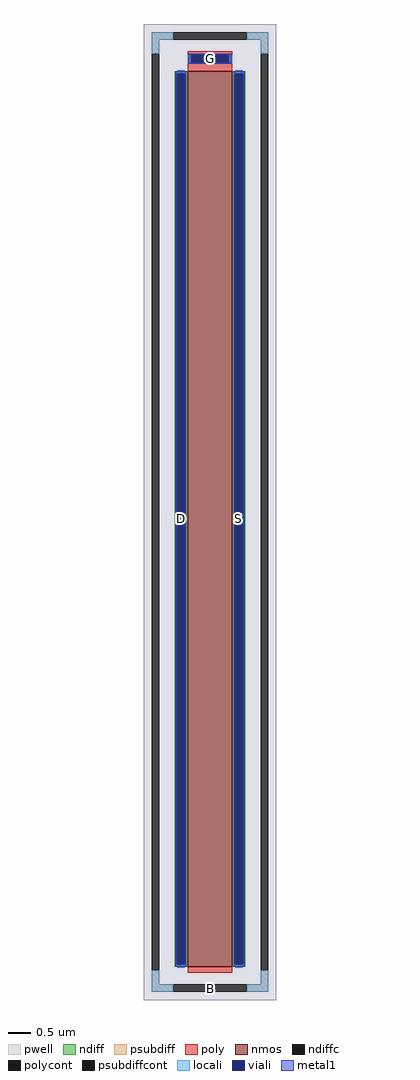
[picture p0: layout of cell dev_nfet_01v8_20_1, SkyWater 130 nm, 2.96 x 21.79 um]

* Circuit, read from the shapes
.subckt dev_nfet_01v8_20_1 B D S G
XM1 S G D B sky130_fd_pr__nfet_01v8 w=20 l=1
.ends

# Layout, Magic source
magic
tech sky130A
magscale 1 2
<< pwell >>
rect -296 -2179 296 2179
<< nmos >>
rect -100 -2031 100 1969
<< ndiff >>
rect -158 1957 -100 1969
rect -158 -2019 -146 1957
rect -112 -2019 -100 1957
rect -158 -2031 -100 -2019
rect 100 1957 158 1969
rect 100 -2019 112 1957
rect 146 -2019 158 1957
rect 100 -2031 158 -2019
<< ndiffc >>
rect -146 -2019 -112 1957
rect 112 -2019 146 1957
<< psubdiff >>
rect -260 2109 -164 2143
rect 164 2109 260 2143
rect -260 2047 -226 2109
rect 226 2047 260 2109
rect -260 -2109 -226 -2047
rect 226 -2109 260 -2047
rect -260 -2143 -164 -2109
rect 164 -2143 260 -2109
<< psubdiffcont >>
rect -164 2109 164 2143
rect -260 -2047 -226 2047
rect 226 -2047 260 2047
rect -164 -2143 164 -2109
<< poly >>
rect -100 2041 100 2057
rect -100 2007 -84 2041
rect 84 2007 100 2041
rect -100 1969 100 2007
rect -100 -2057 100 -2031
<< polycont >>
rect -84 2007 84 2041
<< locali >>
rect -260 2109 -164 2143
rect 164 2109 260 2143
rect -260 2047 -226 2109
rect 226 2047 260 2109
rect -100 2007 -84 2041
rect 84 2007 100 2041
rect -146 1957 -112 1973
rect -146 -2035 -112 -2019
rect 112 1957 146 1973
rect 112 -2035 146 -2019
rect -260 -2109 -226 -2047
rect 226 -2109 260 -2047
rect -260 -2143 -164 -2109
rect 164 -2143 260 -2109
<< viali >>
rect -84 2007 84 2041
rect -146 -2019 -112 1957
rect 112 -2019 146 1957
<< metal1 >>
rect -96 2041 96 2047
rect -96 2007 -84 2041
rect 84 2007 96 2041
rect -96 2001 96 2007
rect -152 1957 -106 1969
rect -152 -2019 -146 1957
rect -112 -2019 -106 1957
rect -152 -2031 -106 -2019
rect 106 1957 152 1969
rect 106 -2019 112 1957
rect 146 -2019 152 1957
rect 106 -2031 152 -2019
<< labels >>
rlabel psubdiffcont 0 -2126 0 -2126 0 B
port 1 nsew
rlabel ndiffc -129 -31 -129 -31 0 D
port 2 nsew
rlabel ndiffc 129 -31 129 -31 0 S
port 3 nsew
rlabel polycont 0 2024 0 2024 0 G
port 4 nsew
<< properties >>
string FIXED_BBOX -243 -2126 243 2126
<< end >>
